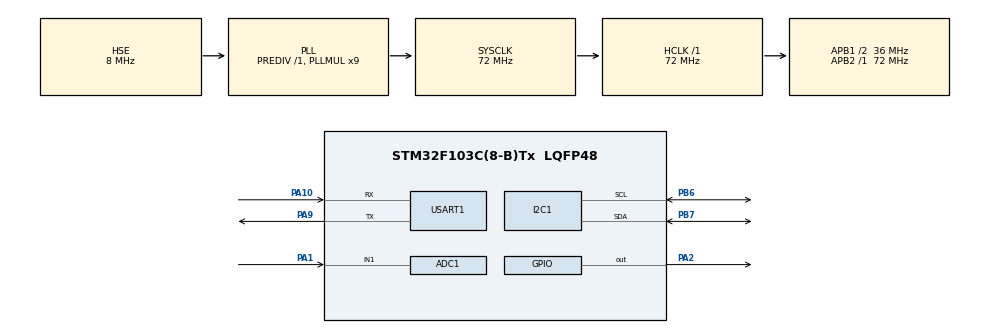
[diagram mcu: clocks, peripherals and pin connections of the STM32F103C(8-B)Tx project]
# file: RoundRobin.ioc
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ADC1.Channel-0\#ChannelRegularConversion=ADC_CHANNEL_1
ADC1.NbrOfConversionFlag=1
ADC1.Rank-0\#ChannelRegularConversion=1
ADC1.SamplingTime-0\#ChannelRegularConversion=ADC_SAMPLETIME_1CYCLE_5
ADC1.master=1
FREERTOS.Tasks01=defaultTask,24,128,StartDefaultTask,Default,NULL,Dynamic,NULL,NULL
FREERTOS.configUSE_NEWLIB_REENTRANT=1
Mcu.Family=STM32F1
Mcu.Name=STM32F103C(8-B)Tx
Mcu.Package=LQFP48
NVIC.PriorityGroup=NVIC_PRIORITYGROUP_4
NVIC.TIM2_IRQn=true\:15\:0\:false\:false\:true\:false\:false\:true\:true
NVIC.TimeBase=TIM2_IRQn
NVIC.TimeBaseIP=TIM2
NVIC.USART1_IRQn=true\:5\:0\:false\:false\:true\:true\:true\:true\:true
PA1.Signal=ADCx_IN1
PA10.Mode=Asynchronous
PA10.Signal=USART1_RX
PA13.Mode=Serial_Wire
PA13.Signal=SYS_JTMS-SWDIO
PA14.Mode=Serial_Wire
PA14.Signal=SYS_JTCK-SWCLK
PA2.Signal=GPIO_Output
PA9.Mode=Asynchronous
PA9.Signal=USART1_TX
PB6.Mode=I2C
PB6.Signal=I2C1_SCL
PB7.Mode=I2C
PB7.Signal=I2C1_SDA
PD0-OSC_IN.Mode=HSE-External-Oscillator
PD0-OSC_IN.Signal=RCC_OSC_IN
PD1-OSC_OUT.Mode=HSE-External-Oscillator
PD1-OSC_OUT.Signal=RCC_OSC_OUT
ProjectManager.HeapSize=0x200
ProjectManager.StackSize=0x400
ProjectManager.TargetToolchain=STM32CubeIDE
RCC.ADCPresc=RCC_ADCPCLK2_DIV6
RCC.AHBFreq_Value=72000000
RCC.APB1CLKDivider=RCC_HCLK_DIV2
RCC.APB1Freq_Value=36000000
RCC.APB1TimFreq_Value=72000000
RCC.APB2Freq_Value=72000000
RCC.APB2TimFreq_Value=72000000
RCC.HCLKFreq_Value=72000000
RCC.PLLMUL=RCC_PLL_MUL9
RCC.PLLSourceVirtual=RCC_PLLSOURCE_HSE
RCC.SYSCLKFreq_VALUE=72000000
RCC.SYSCLKSource=RCC_SYSCLKSOURCE_PLLCLK
RCC.USBFreq_Value=72000000
SH.ADCx_IN1.0=ADC1_IN1,IN1
TIM1.Prescaler=71
USART1.VirtualMode=VM_ASYNC
VP_FREERTOS_VS_CMSIS_V2.Mode=CMSIS_V2
VP_SYS_VS_tim2.Mode=TIM2
VP_TIM1_VS_ClockSourceINT.Mode=Internal
board=custom

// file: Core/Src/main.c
/* USER CODE BEGIN Header */
/**
  ******************************************************************************
  * @file           : main.c
  * @brief          : Main program body
  ******************************************************************************
  * @attention
  *
  * Copyright (c) 2026 STMicroelectronics.
  * All rights reserved.
  *
  * This software is licensed under terms that can be found in the LICENSE file
  * in the root directory of this software component.
  * If no LICENSE file comes with this software, it is provided AS-IS.
  *
  ******************************************************************************
  */
/* USER CODE END Header */
#include "main.h"
#include "cmsis_os.h"
#include "queue.h"
#include "I2CLCD.h"
#include "adc.h"
#include "i2c.h"
#include "tim.h"
#include "usart.h"
#include "SHT3X.h"
#include "DHT22.h"
#include "gpio.h"
#include <string.h>
#include <stdio.h>

/* USER CODE BEGIN PTD */
typedef enum {
    SOURCE_ADC,
    SOURCE_SHT_TEMP,
	SOURCE_DHT_TEMP,
} DataSource_t;
typedef struct {
    DataSource_t source;
    float value;
} Message_t;
DHT22_HandleTypeDef myDHT22={
		.GPIOx=GPIOA,
		.GPIO_Pin=GPIO_PIN_2,
		.htim=&htim1
};
/* USER CODE END PTD */

/* USER CODE BEGIN PV */
// Thread IDs
osThreadId_t TaskSHTHandle;
osThreadId_t TaskLCDHandle;
osThreadId_t TaskUARTHandle;
osThreadId_t TaskADCHandle;
osThreadId_t TaskDHTHandle;
osThreadId_t TaskCommandHandle;
osMessageQueueId_t uartQueueHandle;
osMessageQueueId_t mailboxTempHandle;
osMessageQueueId_t mailboxADCHandle;
osMutexId_t I2CMutexHandle;
osMutexId_t UARTMutexHandle;
osEventFlagsId_t uartEventHandle;

volatile uint32_t period_SHT  = 3000;
volatile uint32_t period_DHT  = 3000;
volatile uint32_t period_ADC  = 1000;
volatile uint32_t period_LCD  = 4000;
uint32_t ADC_Val;
uint8_t rx_cmd_buf[32];
uint8_t rx_cmd_idx = 0;
uint8_t rx_byte;
uint8_t mode=0;
const osMessageQueueAttr_t mailbox_attributes = { .name = "Mailbox" };
/* USER CODE END PV */

void SystemClock_Config(void);
void MX_FREERTOS_Init(void);
/* USER CODE BEGIN PFP */
void StartTaskSHT(void *argument);
void StartTaskLCD(void *argument);
void StartTaskUART(void *argument);
void StartTaskADC(void *argument);
void StartTaskDHT(void *argument);
void StartTaskCommand(void *argument);
/* USER CODE END PFP */

int main(void)
{

  /* MCU Configuration--------------------------------------------------------*/

  /* Reset of all peripherals, Initializes the Flash interface and the Systick. */
  HAL_Init();

  /* Configure the system clock */
  SystemClock_Config();

  /* Initialize all configured peripherals */
  MX_GPIO_Init();
  MX_ADC1_Init();
  MX_I2C1_Init();
  MX_USART1_UART_Init();
  MX_TIM1_Init();
  /* USER CODE BEGIN 2 */
  DHT22_Init(&myDHT22);
  HAL_TIM_Base_Start(myDHT22.htim);
  lcd_init();
  SHT31_Init();
  // Tạo các đối tượng RTOS
  I2CMutexHandle = osMutexNew(NULL);
  UARTMutexHandle= osMutexNew(NULL);
  uartEventHandle = osEventFlagsNew(NULL);
  uartQueueHandle = osMessageQueueNew(20, sizeof(Message_t), NULL);
  mailboxTempHandle = osMessageQueueNew(1, sizeof(float), &mailbox_attributes);
  mailboxADCHandle  = osMessageQueueNew(1, sizeof(uint32_t), &mailbox_attributes);
  osKernelInitialize();

  // Định nghĩa thuộc tính chung (Cùng Priority để chạy Round Robin)
  const osThreadAttr_t rr_attributes = {
      .stack_size = 128 * 4,
      .priority = osPriorityNormal
  };
  const osThreadAttr_t uart_attributes = {
      .stack_size = 256 * 4,
      .priority = osPriorityNormal
  };
  const osThreadAttr_t command_attributes = {
    .name = "TaskCommand",
    .stack_size = 256 * 4,
    .priority = (osPriority_t) osPriorityNormal,
  };
  TaskADCHandle = osThreadNew(StartTaskADC, NULL, &rr_attributes);
  TaskDHTHandle = osThreadNew(StartTaskDHT, NULL, &rr_attributes);
  TaskSHTHandle  = osThreadNew(StartTaskSHT,  NULL, &rr_attributes);
  TaskUARTHandle = osThreadNew(StartTaskUART, NULL, &uart_attributes);
  TaskLCDHandle  = osThreadNew(StartTaskLCD,  NULL, &uart_attributes);
  TaskCommandHandle = osThreadNew(StartTaskCommand, NULL, &command_attributes);
  osThreadSuspend(TaskDHTHandle);
  if (TaskCommandHandle == NULL) {
      // Nếu nhảy vào đây, chắc chắn là do hết Heap RAM
      HAL_UART_Transmit(&huart1, (uint8_t*)"ISR Task Creation Failed!\r\n", 27, 100);
  }
  HAL_UART_Receive_IT(&huart1, &rx_byte, 1);
  /* USER CODE END 2 */

  //MX_FREERTOS_Init();

  /* Start scheduler */
  osKernelStart();

  /* We should never get here as control is now taken by the scheduler */

  /* Infinite loop */
  while (1)
  {

  }
}

void SystemClock_Config(void)
{
  RCC_OscInitTypeDef RCC_OscInitStruct = {0};
  RCC_ClkInitTypeDef RCC_ClkInitStruct = {0};
  RCC_PeriphCLKInitTypeDef PeriphClkInit = {0};

  /** Initializes the RCC Oscillators according to the specified parameters
  * in the RCC_OscInitTypeDef structure.
  */
  RCC_OscInitStruct.OscillatorType = RCC_OSCILLATORTYPE_HSE;
  RCC_OscInitStruct.HSEState = RCC_HSE_ON;
  RCC_OscInitStruct.HSEPredivValue = RCC_HSE_PREDIV_DIV1;
  RCC_OscInitStruct.HSIState = RCC_HSI_ON;
  RCC_OscInitStruct.PLL.PLLState = RCC_PLL_ON;
  RCC_OscInitStruct.PLL.PLLSource = RCC_PLLSOURCE_HSE;
  RCC_OscInitStruct.PLL.PLLMUL = RCC_PLL_MUL9;
  if (HAL_RCC_OscConfig(&RCC_OscInitStruct) != HAL_OK)
  {
    Error_Handler();
  }

  /** Initializes the CPU, AHB and APB buses clocks
  */
  RCC_ClkInitStruct.ClockType = RCC_CLOCKTYPE_HCLK|RCC_CLOCKTYPE_SYSCLK
                              |RCC_CLOCKTYPE_PCLK1|RCC_CLOCKTYPE_PCLK2;
  RCC_ClkInitStruct.SYSCLKSource = RCC_SYSCLKSOURCE_PLLCLK;
  RCC_ClkInitStruct.AHBCLKDivider = RCC_SYSCLK_DIV1;
  RCC_ClkInitStruct.APB1CLKDivider = RCC_HCLK_DIV2;
  RCC_ClkInitStruct.APB2CLKDivider = RCC_HCLK_DIV1;

  if (HAL_RCC_ClockConfig(&RCC_ClkInitStruct, FLASH_LATENCY_2) != HAL_OK)
  {
    Error_Handler();
  }
  PeriphClkInit.PeriphClockSelection = RCC_PERIPHCLK_ADC;
  PeriphClkInit.AdcClockSelection = RCC_ADCPCLK2_DIV6;
  if (HAL_RCCEx_PeriphCLKConfig(&PeriphClkInit) != HAL_OK)
  {
    Error_Handler();
  }
}

/* USER CODE BEGIN 4 */
// --- TASK : SHT ---
void StartTaskSHT(void *argument) {
    float t, h;
    Message_t msg;
    uint32_t tick;
    for(;;) {
    	if(mode==1){
    		osThreadResume(TaskDHTHandle);
    		osThreadSuspend(TaskSHTHandle);
    	}
    	tick = osKernelGetTickCount();
    	if (osMutexAcquire(I2CMutexHandle, 10) == osOK) {
    	            SHT31_StartMeasure();
    	            osMutexRelease(I2CMutexHandle);
    	        }
    	osDelay(20);
    	if (osMutexAcquire(I2CMutexHandle, 10) == osOK){
    		if(SHT31_GetResult(&t, &h)==1){
    			xQueueOverwrite((QueueHandle_t)mailboxTempHandle, &t);
    			msg.source = SOURCE_SHT_TEMP;
    			msg.value = t;
    			osMessageQueuePut(uartQueueHandle, &msg, 0, 10);
    		}
    		osMutexRelease(I2CMutexHandle);
    	}
        osDelayUntil(tick+period_SHT);
    }
}

// --- TASK : LCD ---
void StartTaskLCD(void *argument) {
    char str_buf[16];
    float current_t = 0;
    uint32_t current_adc = 0;
    uint32_t tick = osKernelGetTickCount();
    osDelay(100);
    for(;;) {
    	tick+=period_LCD;
        // 1. Lấy dữ liệu mới nhất từ kho lưu trữ
        xQueuePeek((QueueHandle_t)mailboxTempHandle, &current_t, 0);
        xQueuePeek((QueueHandle_t)mailboxADCHandle, &current_adc, 0);

        // 2. Hiển thị lên LCD
        if (osMutexAcquire(I2CMutexHandle, osWaitForever) == osOK) {
            lcd_clear();

            // Dòng 1: Nhiệt độ
            lcd_put_cur(0, 0);
            sprintf(str_buf, "Temp: %.1f C", current_t);
            lcd_send_string(str_buf);

            // Dòng 2: ADC
            lcd_put_cur(1, 0);
            sprintf(str_buf, "Gas: %lu", current_adc);
            lcd_send_string(str_buf);

            osMutexRelease(I2CMutexHandle);
        }
        osDelayUntil(tick);
    }
}

// --- TASK : UART ---
void StartTaskUART(void *argument) {
    Message_t received_msg;
    char str[64];
    for(;;) {
        if (osMessageQueueGet(uartQueueHandle, &received_msg, NULL, osWaitForever) == osOK) {

            int len = 0;
            if (received_msg.source == SOURCE_ADC) {
                len = sprintf(str, "[ADC] Gas: %d\r\n", (int)received_msg.value);
            } else if (received_msg.source == SOURCE_SHT_TEMP) {
                len = sprintf(str, "[SHT] Temp: %.2f C\r\n", received_msg.value);
            } else if (received_msg.source == SOURCE_DHT_TEMP) {
                len = sprintf(str, "[DHT] Temp: %.2f C\r\n", received_msg.value);
            }

            // Bảo vệ Mutex UART khi in
            if (osMutexAcquire(UARTMutexHandle, osWaitForever) == osOK) {
                HAL_UART_Transmit(&huart1, (uint8_t*)str, len, 100);
                osMutexRelease(UARTMutexHandle);
            }
        }
    }
}
// --- TASK : ADC ---
void StartTaskADC(void *argument) {
    Message_t msg_adc;
    uint32_t local_adc_val;
    HAL_ADCEx_Calibration_Start(&hadc1);
    uint32_t tick = osKernelGetTickCount();
    for(;;) {
        tick += period_ADC;

        if (HAL_ADC_Start(&hadc1) == HAL_OK) {
            if(HAL_ADC_PollForConversion(&hadc1, 10) == HAL_OK) {
                local_adc_val = HAL_ADC_GetValue(&hadc1);
                xQueueOverwrite((QueueHandle_t)mailboxADCHandle, &local_adc_val);
                msg_adc.source = SOURCE_ADC;
                msg_adc.value = (float)local_adc_val;
                osMessageQueuePut(uartQueueHandle, &msg_adc, 0, 10);
            }
            else{
            	msg_adc.source = SOURCE_ADC;
            	msg_adc.value = -999.0; // Dùng một giá trị đặc biệt để báo lỗi
            	osMessageQueuePut(uartQueueHandle, &msg_adc, 0, 10);
            }
        }
        HAL_ADC_Stop(&hadc1);
        osDelayUntil(tick);
    }
}
// --- Task DHT ---
void StartTaskDHT(void *argument) {
    DHT22_Data_t dht_data;
    Message_t msg;
    uint32_t tick ;

    for(;;) {
    	if(mode==0){
    		osThreadResume(TaskSHTHandle);
    		osThreadSuspend(TaskDHTHandle);
    	}
        tick = osKernelGetTickCount();

        if (DHT22_Read(&myDHT22, &dht_data) == 0) {
            xQueueOverwrite((QueueHandle_t)mailboxTempHandle, &dht_data.Temperature);
            msg.source = SOURCE_DHT_TEMP;
            msg.value = dht_data.Temperature;
            osMessageQueuePut(uartQueueHandle, &msg, 0, 10);
        }

        osDelayUntil(tick+period_DHT);
    }
}
// --- Task Command xử lý lệnh từ UART ---
void StartTaskCommand(void *argument) {
    int val;
    char target_name[20]; // Dùng để lưu tên task vừa thay đổi để in DONE

    for(;;) {
        // Chờ tín hiệu từ ngắt UART (Semaphore/Notification)
        ulTaskNotifyTake(pdTRUE, portMAX_DELAY);

        strcpy(target_name, "UNKNOWN"); // Mặc định

        // 1. Xử lý đổi Mode
        if (strcmp((char*)rx_cmd_buf, "MODE:SHT") == 0) {
            mode = 0;
            strcpy(target_name, "MODE SHT");
            osEventFlagsSet(uartEventHandle, 0x08);
        }
        else if (strcmp((char*)rx_cmd_buf, "MODE:DHT") == 0) {
            mode = 1;
            strcpy(target_name, "MODE DHT");
            osEventFlagsSet(uartEventHandle, 0x08);
        }
        // 2. Xử lý thay đổi chu kỳ (Ví dụ lệnh ADC:2000)
        else if (sscanf((char*)rx_cmd_buf, "ADC:%d", &val) == 1) {
            period_ADC = (uint32_t)val;
            strcpy(target_name, "ADC");
        }
        else if (sscanf((char*)rx_cmd_buf, "SHT:%d", &val) == 1) {
            period_SHT = (uint32_t)val;
            strcpy(target_name, "SHT");
        }
        else if (sscanf((char*)rx_cmd_buf, "LCD:%d", &val) == 1) {
            period_LCD = (uint32_t)val;
            strcpy(target_name, "LCD");
        }
        else if (sscanf((char*)rx_cmd_buf, "DHT:%d", &val) == 1) {
        	period_DHT = (uint32_t)val;
        	strcpy(target_name, "DHT");
        }

        // 3. Phản hồi qua UART (Có bảo vệ Mutex)
        if (osMutexAcquire(UARTMutexHandle, 100) == osOK) {
            char msg[40];
            int len = sprintf(msg, ">> %s OK\n", target_name);
            HAL_UART_Transmit(&huart1, (uint8_t*)msg, len, 100);
            osMutexRelease(UARTMutexHandle);
        }

        taskENTER_CRITICAL();
        memset(rx_cmd_buf, 0, sizeof(rx_cmd_buf));
        rx_cmd_idx = 0;
        taskEXIT_CRITICAL();
    }
}
// --- CALLBACK NGẮT UART ---
void HAL_UART_RxCpltCallback(UART_HandleTypeDef *huart) {
    if (huart->Instance == USART1) {
        // Nếu nhận ký tự kết thúc
        if (rx_byte == '\n' || rx_byte == '\r') {
            if (rx_cmd_idx > 0) {
                rx_cmd_buf[rx_cmd_idx] = '\0'; // Kết thúc chuỗi
                vTaskNotifyGiveFromISR((TaskHandle_t)TaskCommandHandle, NULL);
            }
            rx_cmd_idx = 0;
        } else {
            if (rx_cmd_idx < sizeof(rx_cmd_buf) - 1) {
                rx_cmd_buf[rx_cmd_idx++] = rx_byte;
            }
        }
        // Tiếp tục nhận byte tiếp theo
        HAL_UART_Receive_IT(&huart1, &rx_byte, 1);
    }
}
/* USER CODE END 4 */

void HAL_TIM_PeriodElapsedCallback(TIM_HandleTypeDef *htim)
{
  if (htim->Instance == TIM2)
  {
    HAL_IncTick();
  }
}

void Error_Handler(void)
{
  __disable_irq();
  while (1)
  {
  }
}
